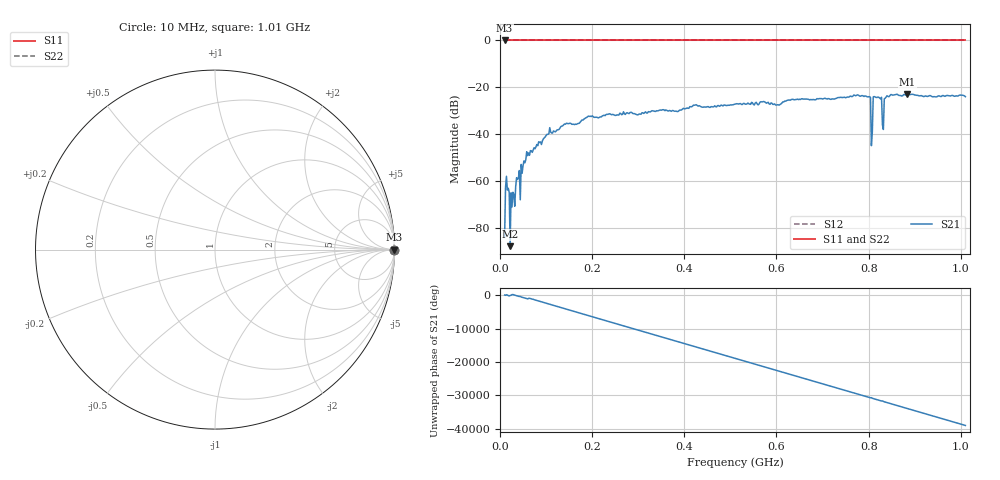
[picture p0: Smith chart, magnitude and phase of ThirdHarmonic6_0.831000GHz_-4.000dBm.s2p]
! 8/16/2025 3:34:41 AM
! C:\ANRITSUVNA\TEMP\TEMP.S2P
! CHANNEL.1
! TR.MEASUREMENT
! RAW.DATA
! RF.CORRECTION.OFF
! AVERAGING.OFF
! IF.BANDWIDTH: 5KHZ
! SWEEPTYPE:  FREQ.SWEEP(Linear)
! Reference Plane Port Info
! PORT:  PORT1  PORT2
! DISTANCE:  0  m  0  m
! TIME:  0  s  0  s
! PHASE.OFFSET:  0  deg.  0  deg.
! LOSS:  0  dB  0  dB
! REF.LOSS:  0  dB  0  dB
! REF.FREQ:  0  Hz  0  Hz
! Power Info
! POWER:  -20  dBm  -20  dBm
! EFF.POWER:  -20  dBm  -20  dBm
! SOURCE.ATTEN:  0  dB  0  dB
! TEST.ATTEN:  0  dB  0  dB
# GHZ S RI R 50.0
! FREQ.GHZ  S11RE  S11IM  S21RE  S21IM  S12RE  S12IM  S22RE  S22IM
!; PortSelection: Port_12
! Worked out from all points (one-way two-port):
!   501 points, 10 MHz to 1.01 GHz, reference 50 ohm
!   highest |S21| = -22.78 dB at 884 MHz (marker M1); lowest = -87.6 dB at 22 MHz (marker M2)
!   lowest |S11| = 0.0 dB at 10 MHz (marker M3)
!   |S11| at or under -10 dB: nowhere
!   |S22| runs from 0.0 to 0.0 dB; largest |S21 - S12| = 1.1
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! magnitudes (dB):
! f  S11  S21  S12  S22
! 10 MHz  0.0  -83.8  0.0  0.0
! 16 MHz  0.0  -63.7  0.0  0.0
! 22 MHz  0.0  -87.6  0.0  0.0
! 26 MHz  0.0  -70.9  0.0  0.0
! 38 MHz  0.0  -59.2  0.0  0.0
! 62 MHz  0.0  -47.9  0.0  0.0
! 106 MHz  0.0  -39.7  0.0  0.0
! 178 MHz  0.0  -33.9  0.0  0.0
! 344 MHz  0.0  -29.9  0.0  0.0
! 510 MHz  0.0  -27.1  0.0  0.0
! 678 MHz  0.0  -25.2  0.0  0.0
! 798 MHz  0.0  -24.1  0.0  0.0
! 800 MHz  0.0  -24.0  0.0  0.0
! 804 MHz  0.0  -24.2  0.0  0.0
! 808 MHz  0.0  -39.0  0.0  0.0
! 810 MHz  0.0  -24.0  0.0  0.0
! 814 MHz  0.0  -24.1  0.0  0.0
! 824 MHz  0.0  -24.6  0.0  0.0
! 830 MHz  0.0  -36.0  0.0  0.0
! 844 MHz  0.0  -24.0  0.0  0.0
! 884 MHz  0.0  -22.8  0.0  0.0
! 1.01 GHz  0.0  -24.0  0.0  0.0
